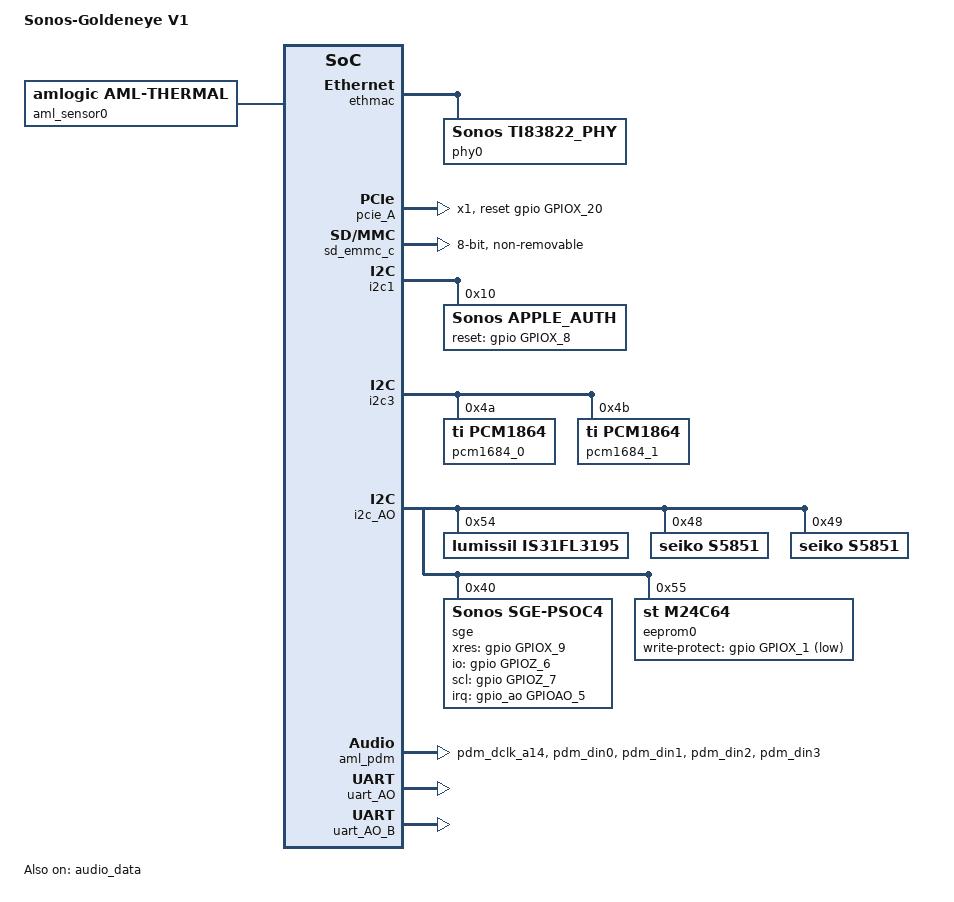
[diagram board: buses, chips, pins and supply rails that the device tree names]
/*
 * Copyright (c) 2022, Sonos, Inc.
 *
 * SPDX-License-Identifier:     GPL-2.0
 */
/* Goldeneye HW versions
 *      V0 - goldeneye_v0.dts	- Goldeneye QB1, prior to program halt
 *      V1 - goldeneye_v1.dts 	- Goldeneye QB2 - Essentially tupelo, no mics.
 *					 Kapital PSoC.  Lumissil Led control replaces TI5562.  NTC AMP temp sensor replaces s5851.
 */
/dts-v1/;

#include "a113.dtsi"
#include "sonos_platform.dtsi"

/ {
	model = "Sonos-Goldeneye V1";
	amlogic-dt-id = "axg_a113d_skt_v1";
	compatible = "amlogic, axg";
	interrupt-parent = <&gic>;
	#address-cells = <2>;
	#size-cells = <2>;

	sonos-product-id = <0x08>;

	sonos-platform {
		/* Sonos platform specific values for shared driver source & binaries */
		sonos-ampctl {
			/* Bootleg has one amp fault.  It has three control lines.
			 */
			status = "okay";

			sonos-ampfaults {
				num-faults = <0x01>;
				status = "okay";

				ampfault@0 {
					fault-gpio = <&gpio GPIOX_4 GPIO_ACTIVE_LOW>;
				} ;
			} ;

			sonos-ampctl-signals {
				num-ctl-signals = <3>;
				sonos-ampsignal@0 {		// DACRESET
					config = <1>;
					on-time = <4>;
					off-time = <4>;
					supports-off = <1>;
					active-low = <1>;
					sig-gpio = <&gpio GPIOX_6 GPIO_ACTIVE_LOW>;
				} ;
				sonos-ampsignal@1 {		// POWER
					on-time = <15>;
					off-time = <0>;
					supports-off = <1>;
					sig-gpio = <&gpio GPIOX_5 GPIO_ACTIVE_LOW>;
				} ;
				sonos-ampsignal@2 {		// AMP MUTE
					config = <1>;
					on-time = <4>;
					off-time = <1>;
					supports-off = <1>;
					sig-gpio = <&gpio GPIOX_15 GPIO_ACTIVE_LOW>;
				} ;
			} ;
		} ;

		misc-gpio {
			connect-button  = <&gpio GPIOX_2 GPIO_ACTIVE_LOW>;
		};

		simulated-buttons {
		/* event-sources are offsets from EVTSOURCE_BUTTON_PLAYPAUSE, some generate an event for more than one source */
			join {
				event-sources = <3>;
			};
		};

		thermal-mgmt {
                        AMP {
                                compatible = "sonos,temp-ncu15";
                                adc-channel = <1>;
                                fault-temperature = <100>;
                                warn-temperature = <95>;
				temperature-map {
					negative;
					num-ranges = <8>;
					/* max mV for range, a in range, b in range
					 *   (linear ax +- b)
					 */
					map-values = < 250 1577 1235300
							400 1192 1128000
							700 628 900500
							1000 421 762440
							1500 271 611100
							2000 195 499570
							3000 144 396360
							5000 117 314300 >;
				};
                        };
		};
	} ;

	sonos-lla {
		compatible = "sonos,alsa-lla";
		tx_mask = <0x3>;
		rx_mask = <0x3f>;
		status = "okay";
	};

	hrtimer-a113 {
		compatible = "sonos,hrtimer-a113";
		status = "okay";
	};

	aliases {
		serial0 = &uart_AO;
		serial1 = &uart_AO_B;
		serial2 = &uart_B;
		serial3 = &uart_A;
		ethernet0 = &ethmac;
	};

	memory@00000000 {
		device_type = "memory";
		linux,usable-memory = <0x0 0x100000 0x0 0x3ff00000>;
	};

	reserved-memory {
		#address-cells = <2>;
		#size-cells = <2>;
		ranges;
		/* global autoconfigured region for contiguous allocations */
		ramoops@0x07400000 {
			compatible = "ramoops";
			reg = <0x0 0x07400000 0x0 0x00100000>;
			record-size = <0x8000>;
			console-size = <0x10000>;
			ftrace-size = <0x2000>;
			pmsg-size = <0x4000>;
		};
		secmon_reserved:linux,secmon {
			compatible = "shared-dma-pool";
			reusable;
			size = <0x0 0x400000>;
			alignment = <0x0 0x400000>;
			alloc-ranges = <0x0 0x05000000 0x0 0x400000>;
		};

		secos_reserved:linux,secos {
			status = "disable";
			compatible = "amlogic, aml_secos_memory";
			reg = <0x0 0x05300000 0x0 0x2000000>;
			no-map;
		};
	};

	ethmac: ethernet@0xff3f0000 {
			compatible = "amlogic, gxbb-eth-dwmac";
			status = "okay";
			reg = <0x0 0xff3f0000 0x0 0x10000
			0x0 0xff634540 0x0 0x8>;
			interrupts = <0 8 1>;
			pinctrl-names = "external_eth_pins";
			pinctrl-0 = <&external_eth_pins>;
			mc_val_internal_phy = <0x1800>;
			mc_val_external_phy = <0x1404>;
			interrupt-names = "macirq";
			clocks = <&clkc CLKID_ETH_CORE>;
			clock-names = "ethclk81";
			internal_phy=<0>;

			phy0 {
				compatible = "Sonos,ti83822_phy";
				interrupts = <&gpio GPIOY_14 GPIO_ACTIVE_HIGH>;
			};

	};

	aml_sensor0: aml-sensor@0 {
		compatible = "amlogic, aml-thermal";
		device_name = "thermal";
		#thermal-sensor-cells = <1>;
		cooling_devices {
			cpufreq_cool_cluster0 {
				min_state = <1000000>;
				dyn_coeff = <140>;
				cluster_id = <0>;
				node_name = "cpufreq_cool0";
				device_type = "cpufreq";
			};
			cpucore_cool_cluster0 {
				min_state = <1>;
				dyn_coeff = <0>;
				cluster_id = <0>;
				node_name = "cpucore_cool0";
				device_type = "cpucore";
			};
		};
		cpufreq_cool0:cpufreq_cool0 {
			#cooling-cells = <2>; /* min followed by max */
		};
		cpucore_cool0:cpucore_cool0 {
			#cooling-cells = <2>; /* min followed by max */
		};
	};

	remote:rc@0xff808040 {
		status = "disabled";
	};

	thermal-zones {
		soc_thermal {
			polling-delay = <1000>;
			polling-delay-passive = <100>;
			sustainable-power = <1050>;

			thermal-sensors = <&aml_sensor0 3>;

			trips {
				switch_on: trip-point@0 {
					temperature = <70000>;
					hysteresis = <1000>;
					type = "passive";
				};
				control: trip-point@1 {
					temperature = <80000>;
					hysteresis = <1000>;
					type = "passive";
				};
				hot: trip-point@2 {
					temperature = <105000>;
					hysteresis = <5000>;
					type = "hot";
				};
				critical: trip-point@3 {
					temperature = <260000>;
					hysteresis = <1000>;
					type = "critical";
				};
			};

			cooling-maps {
				cpufreq_cooling_map {
					trip = <&control>;
					cooling-device = <&cpufreq_cool0 0 4>;
					contribution = <1024>;
				};
				cpucore_cooling_map {
					trip = <&control>;
					cooling-device = <&cpucore_cool0 0 3>;
					contribution = <1024>;
				};
			};
		};
	};

	usb2_phy: usb2phy@ffe09000 {
		compatible = "amlogic, amlogic-new-usb2";
		status = "disabled";
		portnum = <4>;
		reg = <0x0 0xffe09000 0x0 0x80>;
	};
	usb3_phy: usb3phy@ffe09080 {
		compatible = "amlogic, amlogic-new-usb3";
		status = "disabled";
		portnum = <0>;
		reg = <0x0 0xffe09080 0x0 0x20>;
		interrupts = <0 16 4>;
		otg = <1>;
		gpio-vbus-power = "GPIOAO_5";
		gpios = <&gpio_ao GPIOAO_5 GPIO_ACTIVE_HIGH>;
	};

	dwc2_a {
		compatible = "amlogic, dwc2";
		device_name = "dwc2_a";
		reg = <0x0 0xff400000 0x0 0x40000>;
		status = "disabled";
		interrupts = <0 31 4>;
		pl-periph-id = <0>; /** lm name */
		clock-src = "usb0"; /** clock src */
		port-id = <0>;  /** ref to mach/usb.h */
		port-type = <2>;        /** 0: otg, 1: host, 2: slave */
		port-speed = <0>; /** 0: default, high, 1: full */
		port-config = <0>; /** 0: default */
		/*0:default,1:single,2:incr,3:incr4,4:incr8,5:incr16,6:disable*/
		port-dma = <0>;
		port-id-mode = <0>; /** 0: hardware, 1: sw_host, 2: sw_slave*/
		usb-fifo = <728>;
		cpu-type = "gxl";
		/** 0: normal, 1: otg+dwc3 host only, 2: otg+dwc3 device only*/
		controller-type = <3>;
		phy-reg = <0xffe09000>;
		phy-reg-size = <0xa0>;
		clocks = <&clkc CLKID_USB_GENERAL
			&clkc CLKID_USB1_TO_DDR
			&clkc CLKID_USB1>;
		clock-names = "usb_general",
			"usb1",
			"usb1_to_ddr";
	};

	pcie_A: pcieA@f9800000 {
		compatible = "amlogic, amlogic-pcie", "snps,dw-pcie";
		reg = <0x0 0xf9800000 0x0 0x400000
				0x0 0xff646000 0x0 0x2000
				0x0 0xf9f00000 0x0 0x100000
				0x0 PCIE_PHY_REG 0x0 PCIE_PHY_SIZE
				0x0 PCIE_RESET_REG 0x0 PCIE_RESET_SIZE>;
		reg-names = "elbi", "cfg", "config", "phy", "reset";
		reset-gpio = <&gpio GPIOX_20 GPIO_ACTIVE_HIGH>;
		interrupts = <0 177 0>, <0 179 0>;
		#interrupt-cells = <1>;
		bus-range = <0x0 0xff>;
		#address-cells = <3>;
		#size-cells = <2>;
		device_type = "pci";
		ranges = <0x82000000 0 0 0x0 0xf9c00000 0 0x00300000>;
			/* non-prefetchable memory */
		num-lanes = <1>;
		pcie-num = <1>;
		speed-mod = <1>; /* gen1 */

		clocks = <&clkc CLKID_USB_GENERAL
				&clkc CLKID_PCIE_PLL
				&clkc CLKID_MIPI_ENABLE_GATE
				&clkc CLKID_MIPI_BANDGAP_GATE
				&clkc CLKID_PCIE_A
				&clkc CLKID_PCIE_CML_EN0>;
		clock-names = "pcie_general",
				"pcie_refpll",
				"pcie_mipi_enable_gate",
				"pcie_mipi_bandgap_gate",
				"pcie",
				"port";
		/*reset-gpio-type 0:Shared pad(no reset)1:OD pad2:Normal pad*/
		gpio-type = <2>;
		status = "okay";
	};

	pcie_B: pcieB@fa000000 {
		compatible = "amlogic, amlogic-pcie", "snps,dw-pcie";
		reg = <0x0 0xfa000000 0x0 0x400000
				0x0 0xff648000 0x0 0x2000
				0x0 0xfa400000 0x0 0x100000
				0x0 PCIE_PHY_REG 0x0 PCIE_PHY_SIZE
				0x0 PCIE_RESET_REG 0x0 PCIE_RESET_SIZE>;
		reg-names = "elbi", "cfg", "config", "phy", "reset";
		reset-gpio = <&gpio GPIOX_19 GPIO_ACTIVE_HIGH>;
		interrupts = <0 167 0>, <0 169 0>;
		#interrupt-cells = <1>;
		bus-range = <0x0 0xff>;
		#address-cells = <3>;
		#size-cells = <2>;
		device_type = "pci";
		ranges = <0x81000000 0 0 0 0xfa500000 0x0 0x10000
			/* downstream I/O */
			0x82000000 0 0xfa510000 0x0 0xfa510000 0 0x002f0000>;
			/* non-prefetchable memory */
		num-lanes = <1>;
		pcie-num = <2>;
		speed-mod = <1>; /* gen1 */

		clocks = <&clkc CLKID_USB_GENERAL
			&clkc CLKID_PCIE_PLL
			&clkc CLKID_MIPI_ENABLE_GATE
			&clkc CLKID_MIPI_BANDGAP_GATE
			&clkc CLKID_PCIE_B
			&clkc CLKID_PCIE_CML_EN1>;
		clock-names = "pcie_general",
			"pcie_refpll",
			"pcie_mipi_enable_gate",
			"pcie_mipi_bandgap_gate",
			"pcie",
			"port";
		/*reset-gpio-type 0:Shared pad(no reset)1:OD pad2:Normal pad*/
		gpio-type = <0>;
		status = "disable";
	};

	uart_A: serial@ffd24000 {
		compatible = "amlogic, meson-uart";
		reg = <0x0 0xffd24000 0x0 0x18>;
		interrupts = <0 26 1>;
		status = "disable";
		clocks = <&xtal
			&clkc CLKID_UART0>;
		clock-names = "clk_uart",
			"clk_gate";
		fifosize = < 128 >;
		pinctrl-names = "default";
		pinctrl-0 = <&a_uart_pins>;
	};

	uart_B: serial@ffd23000 {
		compatible = "amlogic, meson-uart";
		reg = <0x0 0xffd23000 0x0 0x18>;
		interrupts = <0 75 1>;
		status = "disable";
		clocks = <&xtal
			&clkc CLKID_UART1>;
		clock-names = "clk_uart",
			"clk_gate";
		fifosize = < 64 >;
		pinctrl-names = "default";
		pinctrl-0 = <&b_uart_pins>;
	};
	/* Sound iomap */
	aml_snd_iomap {
		compatible = "amlogic, snd-iomap";
		status = "okay";
		#address-cells=<2>;
		#size-cells=<2>;
		ranges;
		pdm_bus {
			reg = <0x0 0xFF632000 0x0 0x2000>;
		};
		audiobus_base {
			reg = <0x0 0xFF642000 0x0 0x2000>;
		};
		audiolocker_base {
			reg = <0x0 0xFF64A000 0x0 0x2000>;
		};
	};
	pdm_codec:dummy{
		#sound-dai-cells = <0>;
		compatible = "amlogic, pdm_dummy_codec";
		status = "okay";
	};
	dummy_codec:dummy{
		#sound-dai-cells = <0>;
		compatible = "amlogic, aml_dummy_codec";
		status = "okay";
	};
	sonos_dummy_codec_dac: dac_dummy_codec {
		#sound-dai-cells = <0>;
		compatible = "Sonos,dummy-codec";
		stream-name = "0-dac";
		rate = <44100>; /* We use 44.1 KHz as the audio output rate */
		format = "S32_LE"; /* We use signed 24-bit little endian samples in a 32-bit word */
		channels = <2>; /* Number of playback channels on Tupelo is 2 */
		status = "okay";
	};
	sonos_dummy_codec_pdm: pdm_dummy_codec {
		#sound-dai-cells = <0>;
		compatible = "Sonos,dummy-codec";
		stream-name = "1-mic";
		rate = <16000>; /* We use 16 KHz as the audio input rate. May be changed after consulting SMAV team */
		format = "S32_LE"; /* We use signed 24-bit little endian samples in 32-bit words */
		channels = <8>; /* Number of capture channels on Tupelo is 8 */
		capture; /* Set the stream direction to capture. Note: Deafult without this boolean flag is playback */
		status = "okay";
	};

	auge_sound {
		compatible = "amlogic, axg-sound-card";
		aml-audio-card,name = "AML-AUGESOUND";

		aml-audio-card,dai-link@0 {
			format = "i2s";
			mclk-fs = <256>;
			continuous-clock;
			frame-inversion;
			bitclock-master = <&aml_tdma>;
			frame-master = <&aml_tdma>;
			cpu {
				sound-dai = <&aml_tdma>;
				dai-tdm-slot-tx-mask = <1 1>;
				dai-tdm-slot-num = <2>;
				dai-tdm-slot-width = <32>;
				system-clock-frequency = <12288000>;
			};
			codec {
				prefix-names = "Sonos i2s out";
				sound-dai = <&sonos_dummy_codec_dac>;
			};
		};

		aml-audio-card,dai-link@3 {
			mclk-fs = <256>;
			cpu {
				sound-dai = <&aml_pdm>;
			};
			codec {
				prefix-names = "Sonos PDM in";
				sound-dai = <&sonos_dummy_codec_pdm>;
			};
		};
	};

	sd_emmc_c: emmc@ffe07000 {
		status = "okay";
		compatible = "amlogic, meson-mmc-axg";
		reg = <0x0 0xffe07000 0x0 0x2000>;
		interrupts = <0 218 1>;
		pinctrl-names = "emmc_clk_cmd_pins", "emmc_all_pins";
		pinctrl-0 = <&emmc_clk_cmd_pins>;
		pinctrl-1 = <&emmc_conf_pull_up &emmc_conf_pull_done>;
		clocks = <&clkc CLKID_SD_EMMC_C>,
			   <&clkc CLKID_SD_EMMC_C_P0_COMP>,
			   <&clkc CLKID_FCLK_DIV2>,
			   <&clkc CLKID_FCLK_DIV5>,
			   <&xtal>;
		clock-names = "core", "clkin0", "clkin1", "clkin2", "xtal";

		bus-width = <8>;
		cap-sd-highspeed;
		cap-mmc-highspeed;
		mmc-ddr-1_8v;
		mmc-hs200-1_8v;

		max-frequency = <200000000>;
		non-removable;
		disable-wp;
		emmc {
			status = "disable";
			pinname = "emmc";
			ocr_avail = <0x200080>; /* VDD voltage 3.3 ~ 3.4 */
			caps = "MMC_CAP_8_BIT_DATA",
				 "MMC_CAP_MMC_HIGHSPEED",
				 "MMC_CAP_SD_HIGHSPEED",
				 "MMC_CAP_NONREMOVABLE",
				 "MMC_CAP_1_8V_DDR",
				 "MMC_CAP_HW_RESET",
				 "MMC_CAP_ERASE",
				 "MMC_CAP_CMD23";
			f_min = <400000>;
			f_max = <200000000>;
			max_req_size = <0x20000>; /* 128KB */
			gpio_dat3 = <&gpio BOOT_3 GPIO_ACTIVE_HIGH>;
			tx_delay = <8>;
			hw_reset = <&gpio BOOT_9 GPIO_ACTIVE_HIGH>;
			card_type = <1>;
			/* 1:mmc card(include eMMC),
			 * 2:sd card(include tSD)
			 */
		};
	};
}; /* end of / */

/* Auth chip is alone on this bus, because when it's reset, the bus doesn't work */
&i2c1 {
	status = "okay";
	pinctrl-names="default";
	pinctrl-0=<&b_i2c_master_pin1>;

	apple_auth@0 {
		compatible = "Sonos,apple_auth";
		reg = <0x10>;
		reset-gpio = <&gpio GPIOX_8 GPIO_ACTIVE_HIGH>;
	};
};

&i2c3 {
	status = "okay";
	pinctrl-names="default";
	pinctrl-0=<&d_i2c_master_pin2>;

	pcm1684_0: pcm1684_0@0x4a {
		 compatible = "ti,pcm1864";
		 #sound-dai-cells = <0>;
		 reg = <0x4a>;
		 status = "okay";
	};
	pcm1684_1: pcm1684_1@0x4b {
		 compatible = "ti,pcm1864";
		 #sound-dai-cells = <0>;
		 reg = <0x4b>;
		 status = "okay";
	};
};

/* for mic board */
&i2c_AO {
	status = "okay";
	pinctrl-names="default";
	pinctrl-0=<&ao_i2c_master_pin2>;

	is31fl3195@54 {  // LED controller
		compatible = "lumissil,is31fl3195";
		reg = <0x54>;
	};

	s5851@0 {       // CPU thermal sensor
		compatible = "seiko,s5851";
		reg = <0x48>;
		device_type = "CPU";
	};

	// Remove s5851, add NTC
	s5851@1 {       // Amp thermal sensor
		compatible = "seiko,s5851";
		reg = <0x49>;
		device_type = "AMP";
	};
	// --- end s5851

	sge@0 {  // Sigdetail Gesture Engine
		compatible = "Sonos,sge-psoc4";
		pinctrl-names = "mode-uart-hiz", "mode-flow-ctrl";
		pinctrl-0 = <>;
		pinctrl-1 = <&ao_b_uart_pins>;
		reg = <0x40>;
		gpio-addr = <0xff634400 0x130 0x58 0x0 0x5c 0x58 0x0 0x5c>;
		gpio-params = "base-addr", "len", "io-set", "io-clr", "io-din", "scl-set", "scl-clr", "scl-din";
		scl-bitmask =  <0x000080>;
		io-bitmask  =  <0x000040>;
		xres-gpio = <&gpio GPIOX_9 GPIO_ACTIVE_HIGH>;
		// Note: The values for IO and SCL are overridden by sdd-a113.c
		io-gpio   = <&gpio GPIOZ_6 GPIO_ACTIVE_HIGH>;
		scl-gpio  = <&gpio GPIOZ_7 GPIO_ACTIVE_HIGH>;
		irq-gpio  = <&gpio_ao GPIOAO_5 GPIO_ACTIVE_HIGH>;
		zonea = "vol1";
		zoneb = "pp";
		zonec = "vol2";
		zonem = "mic";
		finger-threshold = <33>;
		noise-threshold = <12>;
		hysteresis = <4>;
		share-swd-uart = <1>;
		psoc-rtc = <0>;
		status = "okay";

		psoc-images {
			image@0 {
				model-num = <4248>;
				ident = <0x34>;
				flash-rows = <1024>;
				flash-row-size = <256>;
				flash-protection-size = <128>;
			};
			image@1 {
				model-num = <4248>;
				ident = <0x35>;
				flash-rows = <1024>;
				flash-row-size = <256>;
				flash-protection-size = <128>;
			};
		};
	};

	eeprom0: m24c64@55 {
		compatible = "st,m24c64";
		reg = <0x55>;
		dev-id = <0x2>;
		chip-size = <0x10000>;
		page-size = <0x20>;
		addr-len = <0x2>;
		status = "okay";
		write-protect = <&gpio GPIOX_1 GPIO_ACTIVE_LOW>;
	};
};

&audiobus {

	aml_tdma: tdma {
		compatible = "amlogic, axg-snd-tdma";
		#sound-dai-cells = <0>;
		dai-tdm-lane-slot-mask-out = <1>;
		dai-tdm-clk-sel = <0>;
		clocks = <&clkaudio CLKID_AUDIO_MCLK_A
				&clkc CLKID_MPLL0>;
		clock-names = "mclk", "clk_srcpll";
		pinctrl-names = "tdm_pins";
		pinctrl-0 = <&tdma_mclk &tdmout_a>;
	};

	aml_pdm: pdm {
		compatible = "amlogic, axg-snd-pdm";
		#sound-dai-cells = <0>;
		clocks = <&clkaudio CLKID_AUDIO_PDM
			&clkc CLKID_FCLK_DIV3
			&clkc CLKID_MPLL3
			&clkaudio CLKID_AUDIO_PDMIN0
			&clkaudio CLKID_AUDIO_PDMIN1>;
		clock-names = "gate",
			"sysclk_srcpll",
			"dclk_srcpll",
			"pdm_dclk",
			"pdm_sysclk";
		pinctrl-names = "pdm_pins";
		pinctrl-0 = <&pdmin>;
		filter_mode = <1>; /* mode 0~4, defalut:1 */
		status = "okay";
	};
}; /* end of audiobus */

&pinctrl_periphs {
	tdma_mclk: tdma_mclk {
		mux {
			groups = "clk25_ao";
			function = "clk25_ao";
		};
	};

	tdmout_a: tdmout_a {
		mux {
			groups = "tdma_sclk",
				"tdma_fs",
				"tdma_dout0_x14";
			function = "tdma_out";
		};
	};

	tdmout_a_data: tdmout_a_data {
		mux {
			groups = "tdma_dout1_x15";
			function = "tdma_out";
		};
	};

	tdmin_a: tdmin_a {
		mux {
			groups = "tdma_din0";
			function = "tdma_in";
		};
	};

	tdmb_mclk: tdmb_mclk {
		mux {
			groups = "mclk_b";
			function = "mclk_b";
		};
	};

	tdmout_b: tdmout_b {
		mux {
			groups = "tdmb_sclk",
				"tdmb_fs",
				"tdmb_din0";
			function = "tdmb_out";
		};
	};

	tdmin_b:tdmin_b {
		mux {
			groups = "tdmb_din0",
				"tdmb_din1",
				"tdmb_din2_a12",
				"tdmb_din3_a13";
			function = "tdmb_in";
		};
	};

	tdmc_mclk: tdmc_mclk {
		mux {
			groups = "mclk_a";
			function = "mclk";
		};
	};

	tdmout_c:tdmout_c {
		mux {
			groups = "tdmc_sclk",
				"tdmc_fs",
				"tdmc_dout0",
				"tdmc_dout2_a6",
				"tdmc_dout3_a7";
			function = "tdmc_out";
		};
	};


	tdmin_c:tdmin_c {
		mux {
			groups = "tdmc_din1";
			function = "tdmc_in";
		};
	};

	spdifout: spidfout {
		mux {
			groups = "spdif_out_a20";
			function = "spdif_out";
		};
	};

	spdifin: spidfin {
		mux {
			groups = "spdif_in_a19";
			function = "spdif_in";
		};
	};

	pdmin: pdmin {
		mux {
			groups = "pdm_dclk_a14",
				"pdm_din0",
				"pdm_din1",
				"pdm_din2",
				"pdm_din3";
			function = "pdm";
		};
	};
}; /* end of pinctrl_periphs */
/* Audio Related End */

&aobus{
	uart_AO: serial@3000 {
		compatible = "amlogic, meson-uart";
		reg = <0x0 0x3000 0x0 0x18>;
		interrupts = <0 193 1>;
		status = "okay";
		clocks = <&xtal>;
		clock-names = "clk_uart";
		xtal_tick_en = <1>;
		fifosize = < 64 >;
		pinctrl-names = "default";
		pinctrl-0 = <&ao_uart_pins>;
		support-sysrq = <1>;	/* 0 not support , 1 support */
	};

	uart_AO_B: serial@4000 {
		compatible = "amlogic, meson-uart";
		reg = <0x0 0x4000 0x0 0x18>;
		interrupts = <0 197 1>;
		status = "okay";
		clocks = <&xtal>;
		clock-names = "clk_uart";
		fifosize = < 64 >;
		pinctrl-names = "default";
		pinctrl-0 = <>;
	};
};

&audio_data{
	status = "okay";
};
